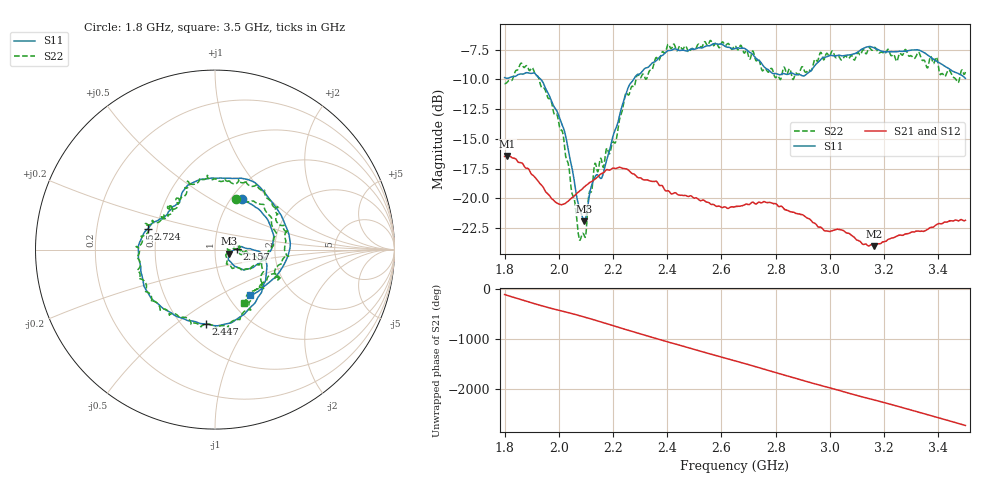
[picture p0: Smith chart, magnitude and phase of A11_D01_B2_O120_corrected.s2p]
! Created with skrf 1.9.0 (http://scikit-rf.org).
# Hz S RI R 50.0
!freq ReS11 ImS11 ReS21 ImS21 ReS12 ImS12 ReS22 ImS22
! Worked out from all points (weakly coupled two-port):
!   1601 points, 1.8 GHz to 3.5 GHz, reference 50 ohm
!   highest |S21| = -16.44 dB at 1.81 GHz (marker M1); lowest = -24.0 dB at 3.163 GHz (marker M2)
!   lowest |S11| = -21.9 dB at 2.094 GHz (marker M3), VSWR 1.17, Z = 58.2 - j2.73 ohm
!   |S11| at or under -10 dB: 1.934 GHz to 2.276 GHz (342.1 MHz wide, 16.3 % of centre)
!   |S22| runs from -23.5 to -6.7 dB; largest |S21 - S12| = 0.003
!   S11 on the Smith chart (normalised r, x): 1.8 GHz: 1.12, +0.71; 2.157 GHz: 1.28, +0.01; 2.447 GHz: 0.65, -0.65; 2.724 GHz: 0.45, +0.12; 3.5 GHz: 1.25, -0.71
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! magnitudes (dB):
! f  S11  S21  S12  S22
! 1.8 GHz  -9.9  -16.5  -16.5  -10.3
! 1.81 GHz  -9.9  -16.4  -16.5  -10.2
! 1.88 GHz  -9.4  -17.5  -17.5  -8.9
! 1.968 GHz  -11.5  -19.8  -19.9  -11.7
! 2.014 GHz  -13.9  -20.5  -20.5  -14.4
! 2.084 GHz  -21.3  -19.3  -19.2  -23.1
! 2.094 GHz  -21.9  -19.0  -19.1  -23.2
! 2.131 GHz  -18.3  -18.4  -18.4  -17.2
! 2.157 GHz  -18.3  -17.9  -17.9  -16.7
! 2.209 GHz  -14.2  -17.5  -17.4  -15.3
! 2.259 GHz  -10.5  -17.7  -17.7  -11.3
! 2.367 GHz  -8.2  -18.8  -18.7  -8.4
! 2.447 GHz  -7.6  -19.7  -19.7  -7.2
! 2.65 GHz  -7.4  -20.7  -20.7  -7.2
! 2.724 GHz  -8.1  -20.5  -20.4  -8.3
! 2.812 GHz  -9.6  -20.7  -20.6  -9.8
! 2.934 GHz  -9.2  -21.9  -21.9  -9.2
! 3.163 GHz  -7.3  -24.0  -24.0  -7.3
! 3.217 GHz  -7.7  -23.4  -23.4  -7.6
! 3.331 GHz  -7.6  -22.8  -22.8  -7.8
! 3.468 GHz  -9.5  -21.8  -21.8  -10.1
! 3.5 GHz  -9.9  -21.8  -21.8  -9.4
